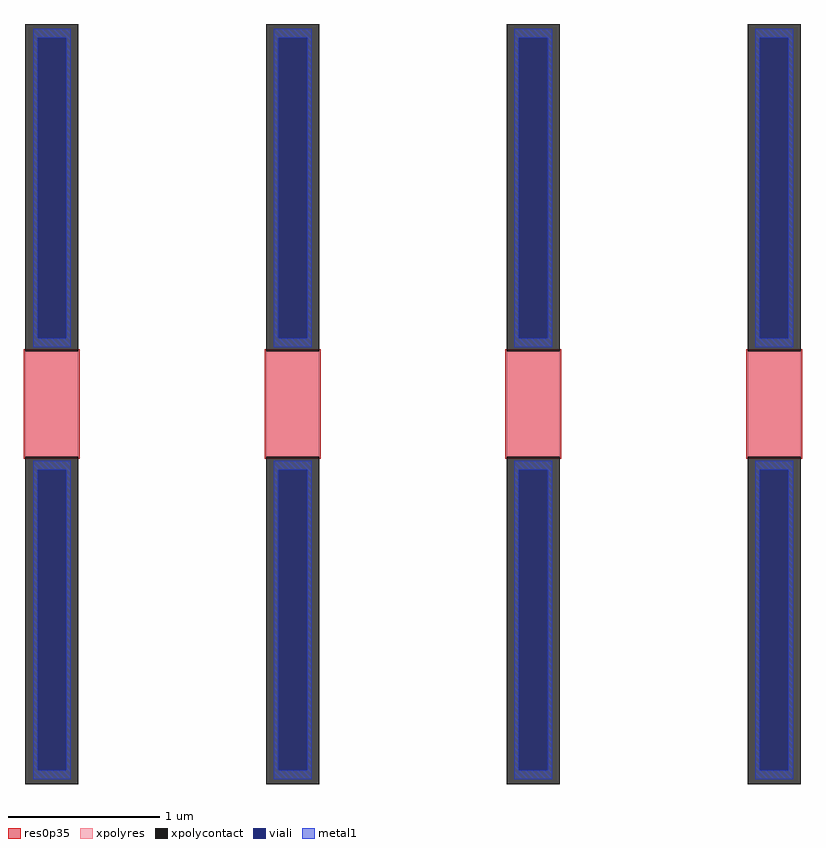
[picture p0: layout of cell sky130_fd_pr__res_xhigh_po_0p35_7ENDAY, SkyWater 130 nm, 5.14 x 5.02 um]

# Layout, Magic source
magic
tech sky130A
magscale 1 2
<< xpolycontact >>
rect -512 70 -442 502
rect -512 -502 -442 -70
rect -194 70 -124 502
rect -194 -502 -124 -70
rect 124 70 194 502
rect 124 -502 194 -70
rect 442 70 512 502
rect 442 -502 512 -70
<< xpolyres >>
rect -512 -70 -442 70
rect -194 -70 -124 70
rect 124 -70 194 70
rect 442 -70 512 70
<< viali >>
rect -496 87 -458 484
rect -178 87 -140 484
rect 140 87 178 484
rect 458 87 496 484
rect -496 -484 -458 -87
rect -178 -484 -140 -87
rect 140 -484 178 -87
rect 458 -484 496 -87
<< metal1 >>
rect -502 484 -452 496
rect -502 87 -496 484
rect -458 87 -452 484
rect -502 75 -452 87
rect -184 484 -134 496
rect -184 87 -178 484
rect -140 87 -134 484
rect -184 75 -134 87
rect 134 484 184 496
rect 134 87 140 484
rect 178 87 184 484
rect 134 75 184 87
rect 452 484 502 496
rect 452 87 458 484
rect 496 87 502 484
rect 452 75 502 87
rect -502 -87 -452 -75
rect -502 -484 -496 -87
rect -458 -484 -452 -87
rect -502 -496 -452 -484
rect -184 -87 -134 -75
rect -184 -484 -178 -87
rect -140 -484 -134 -87
rect -184 -496 -134 -484
rect 134 -87 184 -75
rect 134 -484 140 -87
rect 178 -484 184 -87
rect 134 -496 184 -484
rect 452 -87 502 -75
rect 452 -484 458 -87
rect 496 -484 502 -87
rect 452 -496 502 -484
<< res0p35 >>
rect -514 -72 -440 72
rect -196 -72 -122 72
rect 122 -72 196 72
rect 440 -72 514 72
<< properties >>
string gencell sky130_fd_pr__res_xhigh_po_0p35
string library sky130
string parameters w 0.350 l 0.7 m 1 nx 4 wmin 0.350 lmin 0.50 rho 2000 val 5.075k dummy 0 dw 0.0 term 188.2 sterm 0.0 caplen 0 wmax 0.350 guard 0 glc 1 grc 1 gtc 1 gbc 1 compatible {sky130_fd_pr__res_xhigh_po_0p35  sky130_fd_pr__res_xhigh_po_0p69 sky130_fd_pr__res_xhigh_po_1p41  sky130_fd_pr__res_xhigh_po_2p85 sky130_fd_pr__res_xhigh_po_5p73} full_metal 1 n_guard 0 hv_guard 0 vias 1 viagb 0 viagt 0 viagl 0 viagr 0
<< end >>
